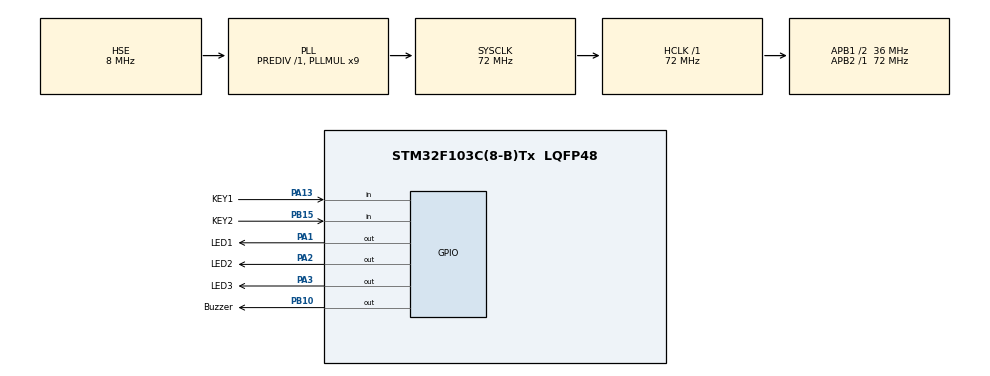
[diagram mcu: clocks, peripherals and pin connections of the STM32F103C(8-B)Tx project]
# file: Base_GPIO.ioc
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Mcu.Family=STM32F1
Mcu.Name=STM32F103C(8-B)Tx
Mcu.Package=LQFP48
NVIC.PriorityGroup=NVIC_PRIORITYGROUP_4
PA1.GPIO_Label=LED1
PA1.PinState=GPIO_PIN_SET
PA1.Signal=GPIO_Output
PA13.GPIO_Label=KEY1
PA13.Signal=GPIO_Input
PA2.GPIO_Label=LED2
PA2.Signal=GPIO_Output
PA3.GPIO_Label=LED3
PA3.Signal=GPIO_Output
PB10.GPIO_Label=Buzzer
PB10.Signal=GPIO_Output
PB15.GPIO_Label=KEY2
PB15.GPIO_PuPd=GPIO_PULLDOWN
PB15.Signal=GPIO_Input
PD0-OSC_IN.Mode=HSE-External-Oscillator
PD0-OSC_IN.Signal=RCC_OSC_IN
PD1-OSC_OUT.Mode=HSE-External-Oscillator
PD1-OSC_OUT.Signal=RCC_OSC_OUT
ProjectManager.HeapSize=0x200
ProjectManager.StackSize=0x400
ProjectManager.TargetToolchain=Makefile
RCC.AHBFreq_Value=72000000
RCC.APB1CLKDivider=RCC_HCLK_DIV2
RCC.APB1Freq_Value=36000000
RCC.APB1TimFreq_Value=72000000
RCC.APB2Freq_Value=72000000
RCC.APB2TimFreq_Value=72000000
RCC.HCLKFreq_Value=72000000
RCC.PLLMUL=RCC_PLL_MUL9
RCC.PLLSourceVirtual=RCC_PLLSOURCE_HSE
RCC.SYSCLKFreq_VALUE=72000000
RCC.SYSCLKSource=RCC_SYSCLKSOURCE_PLLCLK
RCC.USBFreq_Value=72000000
VP_SYS_VS_ND.Mode=No_Debug
board=custom

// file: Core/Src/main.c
/* USER CODE BEGIN Header */
/**
 ******************************************************************************
 * @file           : main.c
 * @brief          : Main program body
 ******************************************************************************
 * @attention
 *
 * Copyright (c) 2025 STMicroelectronics.
 * All rights reserved.
 *
 * This software is licensed under terms that can be found in the LICENSE file
 * in the root directory of this software component.
 * If no LICENSE file comes with this software, it is provided AS-IS.
 *
 ******************************************************************************
 */
/* USER CODE END Header */
#include "main.h"
#include "gpio.h"

void SystemClock_Config(void);
/* USER CODE BEGIN PFP */

void Buzzer_On(uint16_t time);
/* USER CODE END PFP */

int main(void)
{

    /* MCU Configuration--------------------------------------------------------*/

    /* Reset of all peripherals, Initializes the Flash interface and the Systick. */
    HAL_Init();

    /* Configure the system clock */
    SystemClock_Config();

    /* Initialize all configured peripherals */
    MX_GPIO_Init();

    /* Infinite loop */
    /* USER CODE BEGIN WHILE */
    while (1)
    {
        // LED3每500ms闪烁一次
        HAL_GPIO_TogglePin(LED3_GPIO_Port, LED3_Pin);
        HAL_Delay(500);
        /* USER CODE END WHILE */

        /* USER CODE BEGIN 3 */
        // 检测按键状态，按下翻转LED,蜂鸣器响100ms
        if (!HAL_GPIO_ReadPin(KEY1_GPIO_Port, KEY1_Pin))
        {
            HAL_Delay(20);
            if (!HAL_GPIO_ReadPin(KEY1_GPIO_Port, KEY1_Pin))
            {
                HAL_GPIO_TogglePin(LED2_GPIO_Port, LED2_Pin);
                Buzzer_On(100);
                while (!HAL_GPIO_ReadPin(KEY1_GPIO_Port,KEY1_Pin)); // 等待按键释放
            }
        }

        if (!HAL_GPIO_ReadPin(KEY2_GPIO_Port, KEY2_Pin))
        {
            HAL_Delay(20);
            if (!HAL_GPIO_ReadPin(KEY2_GPIO_Port, KEY2_Pin))
            {
                HAL_GPIO_TogglePin(LED3_GPIO_Port, LED3_Pin);
                Buzzer_On(100);
                while(!HAL_GPIO_ReadPin(KEY2_GPIO_Port,KEY2_Pin));
            }
        }
    }
    /* USER CODE END 3 */
}

void SystemClock_Config(void)
{
    RCC_OscInitTypeDef RCC_OscInitStruct = {0};
    RCC_ClkInitTypeDef RCC_ClkInitStruct = {0};

    /** Initializes the RCC Oscillators according to the specified parameters
     * in the RCC_OscInitTypeDef structure.
     */
    RCC_OscInitStruct.OscillatorType = RCC_OSCILLATORTYPE_HSE;
    RCC_OscInitStruct.HSEState = RCC_HSE_ON;
    RCC_OscInitStruct.HSEPredivValue = RCC_HSE_PREDIV_DIV1;
    RCC_OscInitStruct.HSIState = RCC_HSI_ON;
    RCC_OscInitStruct.PLL.PLLState = RCC_PLL_ON;
    RCC_OscInitStruct.PLL.PLLSource = RCC_PLLSOURCE_HSE;
    RCC_OscInitStruct.PLL.PLLMUL = RCC_PLL_MUL9;
    if (HAL_RCC_OscConfig(&RCC_OscInitStruct) != HAL_OK)
    {
        Error_Handler();
    }

    /** Initializes the CPU, AHB and APB buses clocks
     */
    RCC_ClkInitStruct.ClockType = RCC_CLOCKTYPE_HCLK | RCC_CLOCKTYPE_SYSCLK | RCC_CLOCKTYPE_PCLK1 | RCC_CLOCKTYPE_PCLK2;
    RCC_ClkInitStruct.SYSCLKSource = RCC_SYSCLKSOURCE_PLLCLK;
    RCC_ClkInitStruct.AHBCLKDivider = RCC_SYSCLK_DIV1;
    RCC_ClkInitStruct.APB1CLKDivider = RCC_HCLK_DIV2;
    RCC_ClkInitStruct.APB2CLKDivider = RCC_HCLK_DIV1;

    if (HAL_RCC_ClockConfig(&RCC_ClkInitStruct, FLASH_LATENCY_2) != HAL_OK)
    {
        Error_Handler();
    }
}

void Error_Handler(void)
{
    __disable_irq();
    while (1)
    {
    }
}

// 翻转buzzer 引脚，持续time毫秒
void Buzzer_On(uint16_t time)
{
    HAL_GPIO_WritePin(Buzzer_GPIO_Port, Buzzer_Pin, GPIO_PIN_SET);
    HAL_Delay(time);
    HAL_GPIO_WritePin(Buzzer_GPIO_Port, Buzzer_Pin, GPIO_PIN_RESET);
}
